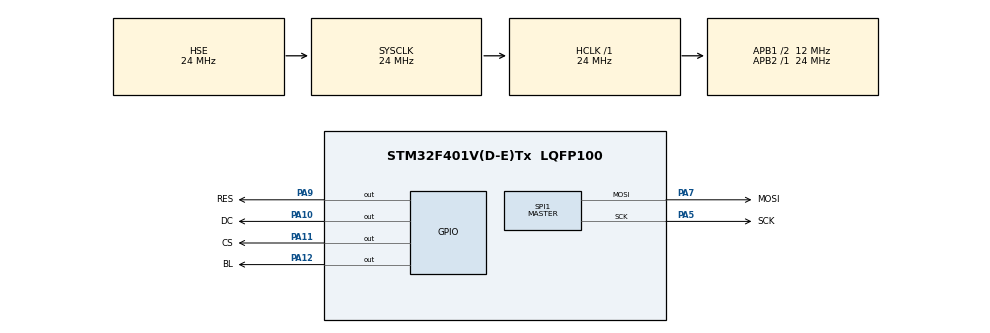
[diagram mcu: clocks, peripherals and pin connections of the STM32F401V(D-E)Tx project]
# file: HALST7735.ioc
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Mcu.Family=STM32F4
Mcu.Name=STM32F401V(D-E)Tx
Mcu.Package=LQFP100
NVIC.PriorityGroup=NVIC_PRIORITYGROUP_4
PA10.GPIO_Label=DC
PA10.Signal=GPIO_Output
PA11.GPIO_Label=CS
PA11.Signal=GPIO_Output
PA12.GPIO_Label=BL
PA12.Signal=GPIO_Output
PA5.GPIO_Label=SCK
PA5.Mode=TX_Only_Simplex_Unidirect_Master
PA5.Signal=SPI1_SCK
PA7.GPIO_Label=MOSI
PA7.Mode=TX_Only_Simplex_Unidirect_Master
PA7.Signal=SPI1_MOSI
PA9.GPIO_Label=RES
PA9.Signal=GPIO_Output
PH0\ -\ OSC_IN.Mode=HSE-External-Oscillator
PH0\ -\ OSC_IN.Signal=RCC_OSC_IN
PH1\ -\ OSC_OUT.Mode=HSE-External-Oscillator
PH1\ -\ OSC_OUT.Signal=RCC_OSC_OUT
ProjectManager.HeapSize=0x200
ProjectManager.StackSize=0x400
ProjectManager.TargetToolchain=MDK-ARM V5.32
RCC.48MHZClocksFreq_Value=126000000
RCC.AHBFreq_Value=24000000
RCC.APB1CLKDivider=RCC_HCLK_DIV2
RCC.APB1Freq_Value=12000000
RCC.APB1TimFreq_Value=24000000
RCC.APB2Freq_Value=24000000
RCC.APB2TimFreq_Value=24000000
RCC.CortexFreq_Value=24000000
RCC.DATA_CACHE_ENABLE=1
RCC.HCLKFreq_Value=24000000
RCC.HSE_VALUE=24000000
RCC.HSI_VALUE=16000000
RCC.INSTRUCTION_CACHE_ENABLE=1
RCC.LSE_VALUE=32768
RCC.PLLM=4
RCC.PLLN=84
RCC.PLLSourceVirtual=RCC_PLLSOURCE_HSE
RCC.PWR_Regulator_Voltage_Scale=PWR_REGULATOR_VOLTAGE_SCALE2
RCC.RCC_TIM_PRescaler_Selection=RCC_TIMPRES_ACTIVATED
RCC.SYSCLKFreq_VALUE=24000000
RCC.SYSCLKSource=RCC_SYSCLKSOURCE_HSE
RCC.VCOOutputFreq_Value=504000000
SPI1.BaudRatePrescaler=SPI_BAUDRATEPRESCALER_2
SPI1.CLKPolarity=SPI_POLARITY_HIGH
SPI1.Direction=SPI_DIRECTION_2LINES
SPI1.Mode=SPI_MODE_MASTER
SPI1.VirtualType=VM_MASTER
board=custom

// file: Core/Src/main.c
/* USER CODE BEGIN Header */
/**
  ******************************************************************************
  * @file           : main.c
  * @brief          : Main program body
  ******************************************************************************
  * @attention
  *
  * Copyright (c) 2024 STMicroelectronics.
  * All rights reserved.
  *
  * This software is licensed under terms that can be found in the LICENSE file
  * in the root directory of this software component.
  * If no LICENSE file comes with this software, it is provided AS-IS.
  *
  ******************************************************************************
  */
/* USER CODE END Header */
#include "main.h"

/* USER CODE BEGIN Includes */
#include "fonts.h"
#include "ST7735.h"
#include "hanzi.h"
/* USER CODE END Includes */

SPI_HandleTypeDef hspi1;

void SystemClock_Config(void);
void PeriphCommonClock_Config(void);
static void MX_GPIO_Init(void);
static void MX_SPI1_Init(void);
/* USER CODE BEGIN 0 */
// 显示汉字
void ST7735_Show_Chinese( uint16_t x, uint16_t y, uint8_t* font, uint8_t size, uint32_t fColor, uint32_t bColor)
{
    uint8_t temp;
	uint16_t y0=y;
	uint8_t csize=(size/8+((size%8)?1:0))*(size);	// 得到字体一个字符对应点阵集所占的字节数
	for(uint8_t t=0; t<csize; t++)
	{
		temp = font[t];
		for(uint8_t t1=0; t1<8; t1++)
		{
			if(temp&0x80)   ST7735_DrawPixel(x, y, fColor);
            else            ST7735_DrawPixel(x, y, bColor);
			temp<<=1;
			y++;
			if((y-y0)==size)
			{
				y=y0;
				x++;
				break;
			}
		}
	}
}

/* USER CODE END 0 */

int main(void)
{

  /* Reset of all peripherals, Initializes the Flash interface and the Systick. */
  HAL_Init();
  /* Configure the system clock */
  SystemClock_Config();
  /* Configure the peripherals common clocks */
  PeriphCommonClock_Config();
  /* Initialize all configured peripherals */
  MX_GPIO_Init();
  MX_SPI1_Init();
  /* USER CODE BEGIN 2 */
  ST7735_Init();
  ST7735_Backlight_On();
	ST7735_SetRotation(3);
  /* USER CODE END 2 */
  while (1)
  {
    /* USER CODE BEGIN 3 */
		ST7735_FillScreen(ST7735_CYAN);
		ST7735_Show_Chinese(32,0,huan,16,ST7735_MAGENTA,ST7735_CYAN);
		ST7735_Show_Chinese(48,0,ying,16,ST7735_MAGENTA,ST7735_CYAN);
		ST7735_Show_Chinese(64,0,guang,16,ST7735_MAGENTA,ST7735_CYAN);
		ST7735_Show_Chinese(80,0,lin,16,ST7735_MAGENTA,ST7735_CYAN);
		ST7735_Show_Chinese(96,0,th,16,ST7735_MAGENTA,ST7735_CYAN);
		ST7735_Show_Chinese(24,24,qian,16,ST7735_BLUE,ST7735_CYAN);
		ST7735_Show_Chinese(40,24,ru,16,ST7735_BLUE,ST7735_CYAN);
		ST7735_Show_Chinese(56,24,shi,16,ST7735_BLUE,ST7735_CYAN);
		ST7735_Show_Chinese(72,24,fang,16,ST7735_BLUE,ST7735_CYAN);
		ST7735_Show_Chinese(88,24,zhen,16,ST7735_BLUE,ST7735_CYAN);
		ST7735_Show_Chinese(104,24,gong,16,ST7735_BLUE,ST7735_CYAN);
		ST7735_Show_Chinese(120,24,cheng,16,ST7735_BLUE,ST7735_CYAN);
		ST7735_DrawString(0, 48, "Embedded simulation engineering", Font_7x10, ST7735_RED, ST7735_CYAN);

		HAL_Delay(1000);
  }
  /* USER CODE END 3 */
}

void SystemClock_Config(void)
{
  RCC_OscInitTypeDef RCC_OscInitStruct = {0};
  RCC_ClkInitTypeDef RCC_ClkInitStruct = {0};

  /** Configure the main internal regulator output voltage
  */
  __HAL_RCC_PWR_CLK_ENABLE();
  __HAL_PWR_VOLTAGESCALING_CONFIG(PWR_REGULATOR_VOLTAGE_SCALE2);

  /** Initializes the RCC Oscillators according to the specified parameters
  * in the RCC_OscInitTypeDef structure.
  */
  RCC_OscInitStruct.OscillatorType = RCC_OSCILLATORTYPE_HSE;
  RCC_OscInitStruct.HSEState = RCC_HSE_ON;
  RCC_OscInitStruct.PLL.PLLState = RCC_PLL_NONE;
  if (HAL_RCC_OscConfig(&RCC_OscInitStruct) != HAL_OK)
  {
    Error_Handler();
  }

  /** Initializes the CPU, AHB and APB buses clocks
  */
  RCC_ClkInitStruct.ClockType = RCC_CLOCKTYPE_HCLK|RCC_CLOCKTYPE_SYSCLK
                              |RCC_CLOCKTYPE_PCLK1|RCC_CLOCKTYPE_PCLK2;
  RCC_ClkInitStruct.SYSCLKSource = RCC_SYSCLKSOURCE_HSE;
  RCC_ClkInitStruct.AHBCLKDivider = RCC_SYSCLK_DIV1;
  RCC_ClkInitStruct.APB1CLKDivider = RCC_HCLK_DIV2;
  RCC_ClkInitStruct.APB2CLKDivider = RCC_HCLK_DIV1;

  if (HAL_RCC_ClockConfig(&RCC_ClkInitStruct, FLASH_LATENCY_0) != HAL_OK)
  {
    Error_Handler();
  }
}

void PeriphCommonClock_Config(void)
{
  RCC_PeriphCLKInitTypeDef PeriphClkInitStruct = {0};

  /** Initializes the peripherals clock
  */
  PeriphClkInitStruct.PeriphClockSelection = RCC_PERIPHCLK_TIM;
  PeriphClkInitStruct.TIMPresSelection = RCC_TIMPRES_ACTIVATED;
  if (HAL_RCCEx_PeriphCLKConfig(&PeriphClkInitStruct) != HAL_OK)
  {
    Error_Handler();
  }
}

static void MX_SPI1_Init(void)
{

  /* SPI1 parameter configuration*/
  hspi1.Instance = SPI1;
  hspi1.Init.Mode = SPI_MODE_MASTER;
  hspi1.Init.Direction = SPI_DIRECTION_2LINES;
  hspi1.Init.DataSize = SPI_DATASIZE_8BIT;
  hspi1.Init.CLKPolarity = SPI_POLARITY_HIGH;
  hspi1.Init.CLKPhase = SPI_PHASE_1EDGE;
  hspi1.Init.NSS = SPI_NSS_SOFT;
  hspi1.Init.BaudRatePrescaler = SPI_BAUDRATEPRESCALER_2;
  hspi1.Init.FirstBit = SPI_FIRSTBIT_MSB;
  hspi1.Init.TIMode = SPI_TIMODE_DISABLE;
  hspi1.Init.CRCCalculation = SPI_CRCCALCULATION_DISABLE;
  hspi1.Init.CRCPolynomial = 10;
  if (HAL_SPI_Init(&hspi1) != HAL_OK)
  {
    Error_Handler();
  }

}

static void MX_GPIO_Init(void)
{
  GPIO_InitTypeDef GPIO_InitStruct = {0};

  /* GPIO Ports Clock Enable */
  __HAL_RCC_GPIOH_CLK_ENABLE();
  __HAL_RCC_GPIOA_CLK_ENABLE();

  /*Configure GPIO pin Output Level */
  HAL_GPIO_WritePin(GPIOA, RES_Pin|DC_Pin|CS_Pin|BL_Pin, GPIO_PIN_RESET);

  /*Configure GPIO pins : RES_Pin DC_Pin CS_Pin BL_Pin */
  GPIO_InitStruct.Pin = RES_Pin|DC_Pin|CS_Pin|BL_Pin;
  GPIO_InitStruct.Mode = GPIO_MODE_OUTPUT_PP;
  GPIO_InitStruct.Pull = GPIO_NOPULL;
  GPIO_InitStruct.Speed = GPIO_SPEED_FREQ_LOW;
  HAL_GPIO_Init(GPIOA, &GPIO_InitStruct);

}

void Error_Handler(void)
{
  __disable_irq();
  while (1)
  {
  }
}
